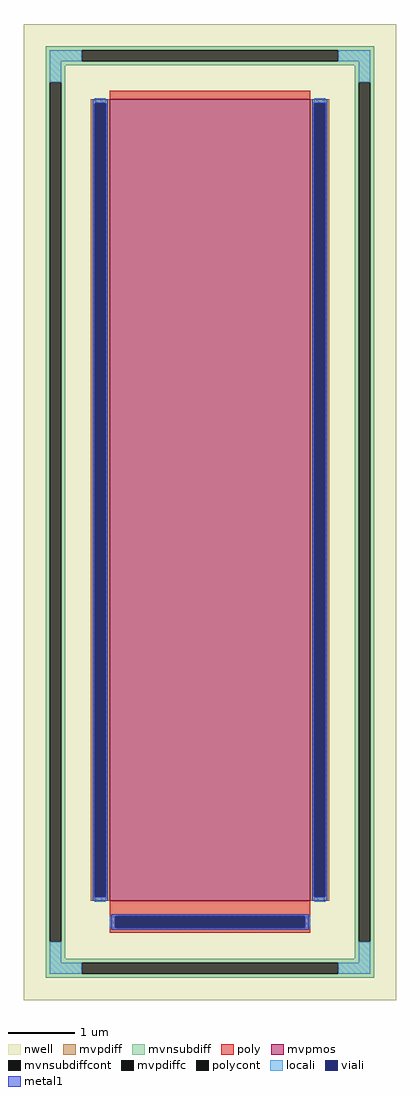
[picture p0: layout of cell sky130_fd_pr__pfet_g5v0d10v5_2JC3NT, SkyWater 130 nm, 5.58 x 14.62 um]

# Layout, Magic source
magic
tech sky130A
magscale 1 2
<< nwell >>
rect -558 -1462 558 1462
<< mvpmos >>
rect -300 -1164 300 1236
<< mvpdiff >>
rect -358 1224 -300 1236
rect -358 -1152 -346 1224
rect -312 -1152 -300 1224
rect -358 -1164 -300 -1152
rect 300 1224 358 1236
rect 300 -1152 312 1224
rect 346 -1152 358 1224
rect 300 -1164 358 -1152
<< mvpdiffc >>
rect -346 -1152 -312 1224
rect 312 -1152 346 1224
<< mvnsubdiff >>
rect -492 1384 492 1396
rect -492 1350 -384 1384
rect 384 1350 492 1384
rect -492 1338 492 1350
rect -492 1288 -434 1338
rect -492 -1288 -480 1288
rect -446 -1288 -434 1288
rect 434 1288 492 1338
rect -492 -1338 -434 -1288
rect 434 -1288 446 1288
rect 480 -1288 492 1288
rect 434 -1338 492 -1288
rect -492 -1350 492 -1338
rect -492 -1384 -384 -1350
rect 384 -1384 492 -1350
rect -492 -1396 492 -1384
<< mvnsubdiffcont >>
rect -384 1350 384 1384
rect -480 -1288 -446 1288
rect 446 -1288 480 1288
rect -384 -1384 384 -1350
<< poly >>
rect -300 1236 300 1262
rect -300 -1211 300 -1164
rect -300 -1245 -284 -1211
rect 284 -1245 300 -1211
rect -300 -1261 300 -1245
<< polycont >>
rect -284 -1245 284 -1211
<< locali >>
rect -480 1350 -384 1384
rect 384 1350 480 1384
rect -480 1288 -446 1350
rect 446 1288 480 1350
rect -346 1224 -312 1240
rect -346 -1168 -312 -1152
rect 312 1224 346 1240
rect 312 -1168 346 -1152
rect -300 -1245 -284 -1211
rect 284 -1245 300 -1211
rect -480 -1350 -446 -1288
rect 446 -1350 480 -1288
rect -480 -1384 -384 -1350
rect 384 -1384 480 -1350
<< viali >>
rect -346 -1152 -312 1224
rect 312 -1152 346 1224
rect -284 -1245 284 -1211
<< metal1 >>
rect -352 1224 -306 1236
rect -352 -1152 -346 1224
rect -312 -1152 -306 1224
rect -352 -1164 -306 -1152
rect 306 1224 352 1236
rect 306 -1152 312 1224
rect 346 -1152 352 1224
rect 306 -1164 352 -1152
rect -296 -1211 296 -1205
rect -296 -1245 -284 -1211
rect 284 -1245 296 -1211
rect -296 -1251 296 -1245
<< properties >>
string FIXED_BBOX -463 -1367 463 1367
string gencell sky130_fd_pr__pfet_g5v0d10v5
string library sky130
string parameters w 12 l 3 m 1 nf 1 diffcov 100 polycov 100 guard 1 glc 1 grc 1 gtc 1 gbc 1 tbcov 100 rlcov 100 topc 0 botc 1 poverlap 0 doverlap 1 lmin 0.50 wmin 0.42 compatible {sky130_fd_pr__pfet_01v8  sky130_fd_pr__pfet_01v8_lvt sky130_fd_pr__pfet_01v8_hvt  sky130_fd_pr__pfet_g5v0d10v5} full_metal 1 viasrc 100 viadrn 100 viagate 100 viagb 0 viagr 0 viagl 0 viagt 0
<< end >>
